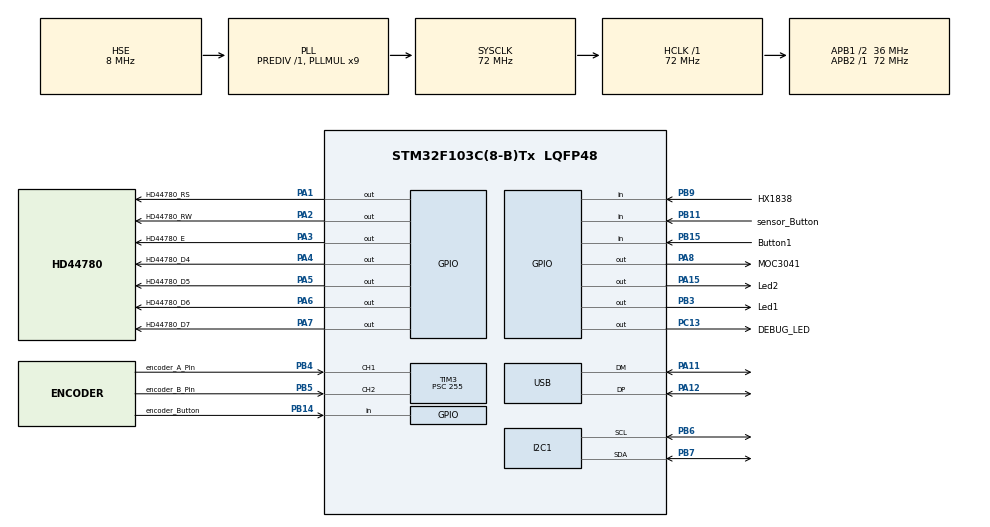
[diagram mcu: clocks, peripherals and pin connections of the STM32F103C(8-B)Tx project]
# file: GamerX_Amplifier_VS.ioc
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Mcu.Family=STM32F1
USB_DEVICE.CLASS_NAME_FS=CDC
Dma.I2C1_TX.0.Instance=DMA1_Channel6
NVIC.I2C1_EV_IRQn=true\:0\:0\:false\:false\:true\:true\:true
Dma.I2C1_TX.0.PeriphDataAlignment=DMA_PDATAALIGN_BYTE
PB14.GPIO_Label=encoder_Button
Dma.I2C1_TX.0.Direction=DMA_MEMORY_TO_PERIPH
PA11.Mode=Device
PA6.GPIO_Label=HD44780_D6
PB11.Signal=GPIO_Input
PB15.Signal=GPIO_Input
RCC.SYSCLKSource=RCC_SYSCLKSOURCE_PLLCLK
ProjectManager.StackSize=0x400
PD1-OSC_OUT.Signal=RCC_OSC_OUT
PA15.GPIO_Label=Led2
PA12.Signal=USB_DP
RCC.HCLKFreq_Value=72000000
RCC.APB2TimFreq_Value=72000000
PB6.Signal=I2C1_SCL
PB6.Mode=I2C
Dma.I2C1_TX.0.Priority=DMA_PRIORITY_LOW
RCC.AHBFreq_Value=72000000
RCC.PLLMUL=RCC_PLL_MUL9
PA14.Mode=Serial_Wire
Dma.I2C1_TX.0.MemInc=DMA_MINC_ENABLE
TIM3.Prescaler=255
PB7.Signal=I2C1_SDA
PA8.Signal=GPIO_Output
SH.S_TIM3_CH1.0=TIM3_CH1,Encoder_Interface
Dma.I2C1_TX.0.PeriphInc=DMA_PINC_DISABLE
Mcu.Package=LQFP48
PB9.Signal=GPIO_Input
PA6.Signal=GPIO_Output
PA2.GPIO_Label=HD44780_RW
PA15.Signal=GPIO_Output
Dma.I2C1_TX.0.MemDataAlignment=DMA_MDATAALIGN_BYTE
PB5.GPIO_Label=encoder_B_Pin
RCC.APB1TimFreq_Value=72000000
Dma.I2C1_TX.0.Mode=DMA_NORMAL
Dma.Request0=I2C1_TX
PA4.GPIO_Label=HD44780_D4
PB4.Signal=S_TIM3_CH1
PA3.Signal=GPIO_Output
PB3.GPIO_Label=Led1
RCC.PLLSourceVirtual=RCC_PLLSOURCE_HSE
NVIC.DMA1_Channel6_IRQn=true\:0\:0\:false\:false\:true\:false\:true
PD1-OSC_OUT.Mode=HSE-External-Oscillator
PB9.GPIO_Label=HX1838
USB_DEVICE.VirtualModeFS=Cdc_FS
PB11.GPIO_Label=sensor_Button
PC13-TAMPER-RTC.Signal=GPIO_Output
RCC.USBPrescaler=RCC_USBCLKSOURCE_PLL_DIV1_5
PD0-OSC_IN.Signal=RCC_OSC_IN
RCC.APB1CLKDivider=RCC_HCLK_DIV2
PA13.Signal=SYS_JTMS-SWDIO
PA8.GPIO_Label=MOC3041
ProjectManager.TargetToolchain=Other Toolchains (GPDSC)
TIM3.IC2Filter=15
VP_USB_DEVICE_VS_USB_DEVICE_CDC_FS.Mode=CDC_FS
RCC.USBFreq_Value=48000000
PA1.Signal=GPIO_Output
PD0-OSC_IN.Mode=HSE-External-Oscillator
PB14.Signal=GPIO_Input
PA5.Signal=GPIO_Output
SH.S_TIM3_CH2.0=TIM3_CH2,Encoder_Interface
TIM3.IC1Filter=15
TIM3.IC1Prescaler=TIM_ICPSC_DIV4
board=custom
PC13-TAMPER-RTC.GPIO_Label=DEBUG_LED
NVIC.TIM3_IRQn=true\:0\:0\:false\:false\:true\:true\:true
RCC.APB2Freq_Value=72000000
PB4.GPIO_Label=encoder_A_Pin
PB15.GPIO_Label=Button1
NVIC.USB_LP_CAN1_RX0_IRQn=true\:0\:0\:false\:false\:true\:false\:true
PA1.GPIO_Label=HD44780_RS
PA13.Mode=Serial_Wire
Mcu.Name=STM32F103C(8-B)Tx
PA2.Signal=GPIO_Output
PB3.Signal=GPIO_Output
PA4.Signal=GPIO_Output
RCC.SYSCLKFreq_VALUE=72000000
PB5.Signal=S_TIM3_CH2
PA7.GPIO_Label=HD44780_D7
PA12.Mode=Device
PA5.GPIO_Label=HD44780_D5
PB7.Mode=I2C
PA11.Signal=USB_DM
PA14.Signal=SYS_JTCK-SWCLK
ProjectManager.HeapSize=0x200
NVIC.PriorityGroup=NVIC_PRIORITYGROUP_4
TIM3.IC2Prescaler=TIM_ICPSC_DIV4
RCC.APB1Freq_Value=36000000
USB_DEVICE.VirtualMode=Cdc
PA3.GPIO_Label=HD44780_E
PA7.Signal=GPIO_Output

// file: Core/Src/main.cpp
/* USER CODE BEGIN Header */
/**
  ******************************************************************************
  * @file           : main.c
  * @brief          : Main program body
  ******************************************************************************
  * @attention
  *
  * <h2><center>&copy; Copyright (c) 2020 STMicroelectronics.
  * All rights reserved.</center></h2>
  *
  * This software component is licensed by ST under Ultimate Liberty license
  * SLA0044, the "License"; You may not use this file except in compliance with
  * the License. You may obtain a copy of the License at:
  *                             www.st.com/SLA0044
  *
  ******************************************************************************
  */
/* USER CODE END Header */
#include "main.h"
#include "usb_device.h"

/* USER CODE BEGIN Includes */
#include "../Inc/HD44780.h"
#include "../Inc/TTP223.h"
#include "../Inc/TDA7448.h"
#include "../Inc/RotaryEncoder.h"
#include "../Inc/Menu.h"
#include "../Inc/Button.h"
#include "../Inc/eeprom.h"
/* USER CODE END Includes */

I2C_HandleTypeDef hi2c1;
DMA_HandleTypeDef hdma_i2c1_tx;

TIM_HandleTypeDef htim3;

void SystemClock_Config(void);
static void MX_GPIO_Init(void);
static void MX_DMA_Init(void);
static void MX_I2C1_Init(void);
static void MX_TIM3_Init(void);

int main(void)
{

  /* MCU Configuration--------------------------------------------------------*/

  /* Reset of all peripherals, Initializes the Flash interface and the Systick. */
  HAL_Init();

  /* Configure the system clock */
  SystemClock_Config();

  /* Initialize all configured peripherals */
  MX_GPIO_Init();
  MX_DMA_Init();
  MX_I2C1_Init();
  MX_TIM3_Init();
  MX_USB_DEVICE_Init();
  /* USER CODE BEGIN 2 */

	//eeprom init
	  eeprom AT24C04(hi2c1, 0x80);

	// Display init
	HD44780 Display(HD44780_RS_GPIO_Port,
		HD44780_RS_Pin,
		HD44780_RW_GPIO_Port,
		HD44780_RW_Pin,
		HD44780_E_GPIO_Port,
		HD44780_E_Pin,
		HD44780_D4_GPIO_Port,
		HD44780_D4_Pin,
		HD44780_D5_GPIO_Port,
		HD44780_D5_Pin,
		HD44780_D6_GPIO_Port,
		HD44780_D6_Pin,
		HD44780_D7_GPIO_Port,
		HD44780_D7_Pin);
	Display.LCD_Clear();

	HAL_Delay(1000);
	Display.StringData1 = "GamerX";
	Display.StringData2 = "Amplifier";
	Display.UpdateDisplay();

	//Sensor Button init
	TTP223 sensorButton(sensor_Button_GPIO_Port, sensor_Button_Pin);

	//TDA7448 init
	TDA7448 Amplifire(&hi2c1, 0x88);
	Amplifire.Mute(true);

	//Encoder init
	RotaryEncoder Encoder(htim3);

	//menu init
	Menu MainMenu;

	//button init
	Button encButton(encoder_Button_GPIO_Port, encoder_Button_Pin);

  /* USER CODE END 2 */

  /* Infinite loop */
  /* USER CODE BEGIN WHILE */
  while (1)
  {

	  if (sensorButton.StateChanged())
	  {
		  bool CurrentState = sensorButton.GetState();
		  if (CurrentState == true)
		  {
			  //power on
			  HAL_GPIO_WritePin(MOC3041_GPIO_Port, MOC3041_Pin, GPIO_PIN_RESET);
			  Amplifire.Mute(false);
			  sprintf(Display.StringData1, "Volume");
			  sprintf(Display.StringData2, "%d4", Amplifire.GetMasterVolume());
			  Display.UpdateDisplay();
		  }
		  else
		  {
			  //power off
			  HAL_GPIO_WritePin(MOC3041_GPIO_Port, MOC3041_Pin, GPIO_PIN_SET);
			  Amplifire.Mute(true);
		  }
	  }

	  if (Encoder.StateChanged())
	  {
		  if (Encoder.GetDiff() > 0)
			  Amplifire.MasterVolumeInc();
		  else
			  Amplifire.MasterVolumeDec();

		  sprintf(Display.StringData1, "Volume");
		  sprintf(Display.StringData2, "%d4", Amplifire.GetMasterVolume());
		  Display.UpdateDisplay();
	  }

	  if (encButton.Pressed())
	  {
		  MainMenu.NextItem();
		  sprintf(Display.StringData1, MainMenu.CurrentMenutext().c_str());
		  Display.UpdateDisplay();
	  }

    /* USER CODE END WHILE */

  }
}

void SystemClock_Config(void)
{
  RCC_OscInitTypeDef RCC_OscInitStruct = {0};
  RCC_ClkInitTypeDef RCC_ClkInitStruct = {0};
  RCC_PeriphCLKInitTypeDef PeriphClkInit = {0};

  /** Initializes the RCC Oscillators according to the specified parameters
  * in the RCC_OscInitTypeDef structure.
  */
  RCC_OscInitStruct.OscillatorType = RCC_OSCILLATORTYPE_HSE;
  RCC_OscInitStruct.HSEState = RCC_HSE_ON;
  RCC_OscInitStruct.HSEPredivValue = RCC_HSE_PREDIV_DIV1;
  RCC_OscInitStruct.HSIState = RCC_HSI_ON;
  RCC_OscInitStruct.PLL.PLLState = RCC_PLL_ON;
  RCC_OscInitStruct.PLL.PLLSource = RCC_PLLSOURCE_HSE;
  RCC_OscInitStruct.PLL.PLLMUL = RCC_PLL_MUL9;
  if (HAL_RCC_OscConfig(&RCC_OscInitStruct) != HAL_OK)
  {
    Error_Handler();
  }
  /** Initializes the CPU, AHB and APB buses clocks
  */
  RCC_ClkInitStruct.ClockType = RCC_CLOCKTYPE_HCLK|RCC_CLOCKTYPE_SYSCLK
                              |RCC_CLOCKTYPE_PCLK1|RCC_CLOCKTYPE_PCLK2;
  RCC_ClkInitStruct.SYSCLKSource = RCC_SYSCLKSOURCE_PLLCLK;
  RCC_ClkInitStruct.AHBCLKDivider = RCC_SYSCLK_DIV1;
  RCC_ClkInitStruct.APB1CLKDivider = RCC_HCLK_DIV2;
  RCC_ClkInitStruct.APB2CLKDivider = RCC_HCLK_DIV1;

  if (HAL_RCC_ClockConfig(&RCC_ClkInitStruct, FLASH_LATENCY_2) != HAL_OK)
  {
    Error_Handler();
  }
  PeriphClkInit.PeriphClockSelection = RCC_PERIPHCLK_USB;
  PeriphClkInit.UsbClockSelection = RCC_USBCLKSOURCE_PLL_DIV1_5;
  if (HAL_RCCEx_PeriphCLKConfig(&PeriphClkInit) != HAL_OK)
  {
    Error_Handler();
  }
}

static void MX_I2C1_Init(void)
{

  hi2c1.Instance = I2C1;
  hi2c1.Init.ClockSpeed = 100000;
  hi2c1.Init.DutyCycle = I2C_DUTYCYCLE_2;
  hi2c1.Init.OwnAddress1 = 0;
  hi2c1.Init.AddressingMode = I2C_ADDRESSINGMODE_7BIT;
  hi2c1.Init.DualAddressMode = I2C_DUALADDRESS_DISABLE;
  hi2c1.Init.OwnAddress2 = 0;
  hi2c1.Init.GeneralCallMode = I2C_GENERALCALL_DISABLE;
  hi2c1.Init.NoStretchMode = I2C_NOSTRETCH_DISABLE;
  if (HAL_I2C_Init(&hi2c1) != HAL_OK)
  {
    Error_Handler();
  }

}

static void MX_TIM3_Init(void)
{

  TIM_Encoder_InitTypeDef sConfig = {0};
  TIM_MasterConfigTypeDef sMasterConfig = {0};

  htim3.Instance = TIM3;
  htim3.Init.Prescaler = 255;
  htim3.Init.CounterMode = TIM_COUNTERMODE_UP;
  htim3.Init.Period = 65535;
  htim3.Init.ClockDivision = TIM_CLOCKDIVISION_DIV1;
  htim3.Init.AutoReloadPreload = TIM_AUTORELOAD_PRELOAD_DISABLE;
  sConfig.EncoderMode = TIM_ENCODERMODE_TI1;
  sConfig.IC1Polarity = TIM_ICPOLARITY_RISING;
  sConfig.IC1Selection = TIM_ICSELECTION_DIRECTTI;
  sConfig.IC1Prescaler = TIM_ICPSC_DIV4;
  sConfig.IC1Filter = 15;
  sConfig.IC2Polarity = TIM_ICPOLARITY_RISING;
  sConfig.IC2Selection = TIM_ICSELECTION_DIRECTTI;
  sConfig.IC2Prescaler = TIM_ICPSC_DIV4;
  sConfig.IC2Filter = 15;
  if (HAL_TIM_Encoder_Init(&htim3, &sConfig) != HAL_OK)
  {
    Error_Handler();
  }
  sMasterConfig.MasterOutputTrigger = TIM_TRGO_RESET;
  sMasterConfig.MasterSlaveMode = TIM_MASTERSLAVEMODE_DISABLE;
  if (HAL_TIMEx_MasterConfigSynchronization(&htim3, &sMasterConfig) != HAL_OK)
  {
    Error_Handler();
  }

}

static void MX_DMA_Init(void)
{

  /* DMA controller clock enable */
  __HAL_RCC_DMA1_CLK_ENABLE();

  /* DMA interrupt init */
  /* DMA1_Channel6_IRQn interrupt configuration */
  HAL_NVIC_SetPriority(DMA1_Channel6_IRQn, 0, 0);
  HAL_NVIC_EnableIRQ(DMA1_Channel6_IRQn);

}

static void MX_GPIO_Init(void)
{
  GPIO_InitTypeDef GPIO_InitStruct = {0};

  /* GPIO Ports Clock Enable */
  __HAL_RCC_GPIOC_CLK_ENABLE();
  __HAL_RCC_GPIOD_CLK_ENABLE();
  __HAL_RCC_GPIOA_CLK_ENABLE();
  __HAL_RCC_GPIOB_CLK_ENABLE();

  /*Configure GPIO pin Output Level */
  HAL_GPIO_WritePin(DEBUG_LED_GPIO_Port, DEBUG_LED_Pin, GPIO_PIN_RESET);

  /*Configure GPIO pin Output Level */
  HAL_GPIO_WritePin(GPIOA, HD44780_RS_Pin|HD44780_RW_Pin|HD44780_E_Pin|HD44780_D4_Pin
                          |HD44780_D5_Pin|HD44780_D6_Pin|HD44780_D7_Pin|MOC3041_Pin
                          |Led2_Pin, GPIO_PIN_RESET);

  /*Configure GPIO pin Output Level */
  HAL_GPIO_WritePin(Led1_GPIO_Port, Led1_Pin, GPIO_PIN_RESET);

  /*Configure GPIO pin : DEBUG_LED_Pin */
  GPIO_InitStruct.Pin = DEBUG_LED_Pin;
  GPIO_InitStruct.Mode = GPIO_MODE_OUTPUT_PP;
  GPIO_InitStruct.Pull = GPIO_NOPULL;
  GPIO_InitStruct.Speed = GPIO_SPEED_FREQ_LOW;
  HAL_GPIO_Init(DEBUG_LED_GPIO_Port, &GPIO_InitStruct);

  /*Configure GPIO pins : HD44780_RS_Pin HD44780_RW_Pin HD44780_E_Pin HD44780_D4_Pin
                           HD44780_D5_Pin HD44780_D6_Pin HD44780_D7_Pin MOC3041_Pin
                           Led2_Pin */
  GPIO_InitStruct.Pin = HD44780_RS_Pin|HD44780_RW_Pin|HD44780_E_Pin|HD44780_D4_Pin
                          |HD44780_D5_Pin|HD44780_D6_Pin|HD44780_D7_Pin|MOC3041_Pin
                          |Led2_Pin;
  GPIO_InitStruct.Mode = GPIO_MODE_OUTPUT_PP;
  GPIO_InitStruct.Pull = GPIO_NOPULL;
  GPIO_InitStruct.Speed = GPIO_SPEED_FREQ_LOW;
  HAL_GPIO_Init(GPIOA, &GPIO_InitStruct);

  /*Configure GPIO pins : sensor_Button_Pin encoder_Button_Pin Button1_Pin HX1838_Pin */
  GPIO_InitStruct.Pin = sensor_Button_Pin|encoder_Button_Pin|Button1_Pin|HX1838_Pin;
  GPIO_InitStruct.Mode = GPIO_MODE_INPUT;
  GPIO_InitStruct.Pull = GPIO_NOPULL;
  HAL_GPIO_Init(GPIOB, &GPIO_InitStruct);

  /*Configure GPIO pin : Led1_Pin */
  GPIO_InitStruct.Pin = Led1_Pin;
  GPIO_InitStruct.Mode = GPIO_MODE_OUTPUT_PP;
  GPIO_InitStruct.Pull = GPIO_NOPULL;
  GPIO_InitStruct.Speed = GPIO_SPEED_FREQ_LOW;
  HAL_GPIO_Init(Led1_GPIO_Port, &GPIO_InitStruct);

}

void Error_Handler(void)
{
}

/************************ (C) COPYRIGHT STMicroelectronics *****END OF FILE****/
